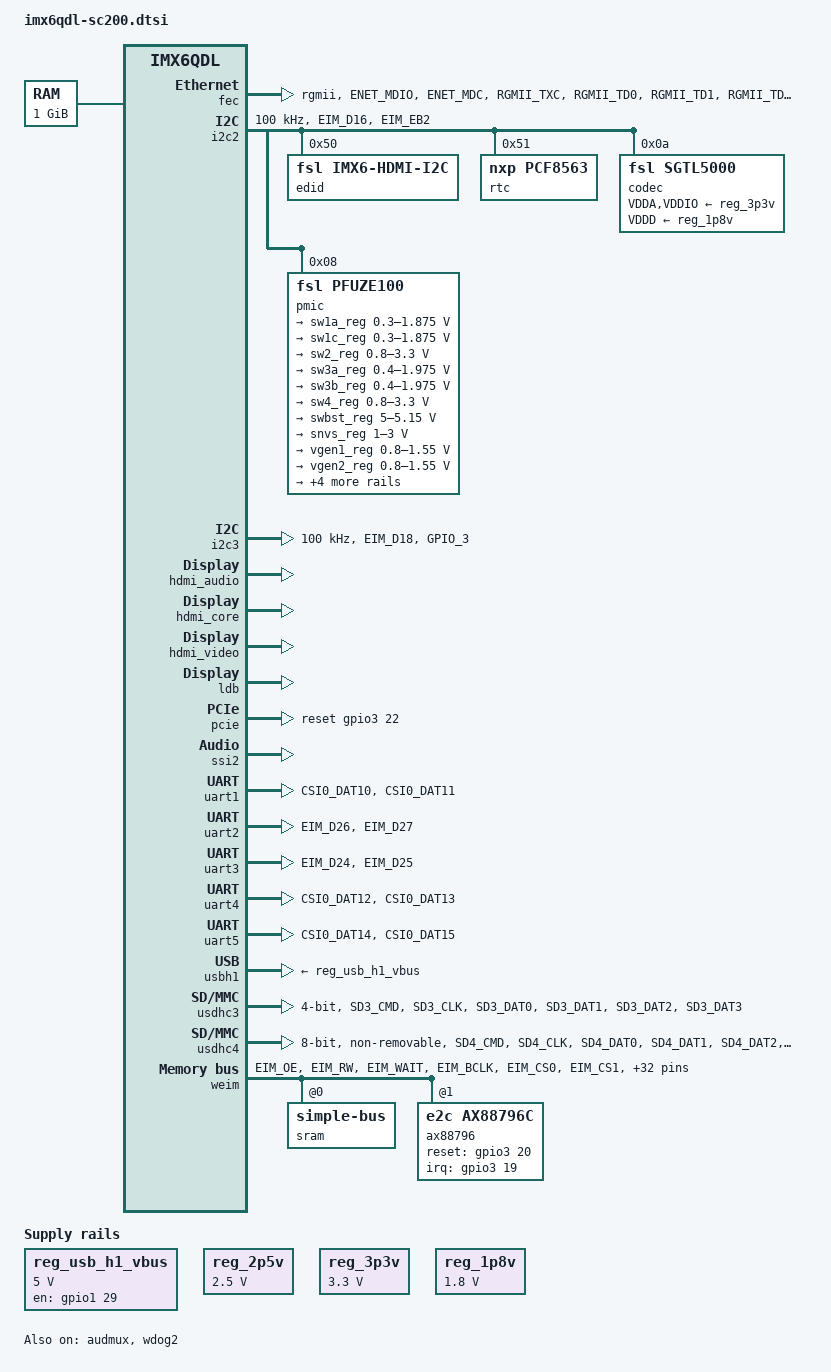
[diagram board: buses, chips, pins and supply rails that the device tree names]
/*
 * Copyright 2012 Freescale Semiconductor, Inc.
 * Copyright 2011 Linaro Ltd.
 *
 * The code contained herein is licensed under the GNU General Public
 * License. You may obtain a copy of the GNU General Public License
 * Version 2 or later at the following locations:
 *
 * http://www.opensource.org/licenses/gpl-license.html
 * http://www.gnu.org/copyleft/gpl.html
 */

#include <dt-bindings/input/input.h>

/ {
	aliases {
		mxcfb0 = &mxcfb1;
		mxcfb1 = &mxcfb2;
		mxcfb2 = &mxcfb3;
		mxcfb3 = &mxcfb4;
	};

	memory {
	
		reg = <0x10000000 0x40000000>;
	};

	    
	regulators {
		compatible = "simple-bus";
		#address-cells = <1>;
		#size-cells = <0>;

		reg_usb_h1_vbus: regulator@1 {
			compatible = "regulator-fixed";
			reg = <1>;
			regulator-name = "usb_h1_vbus";
			regulator-min-microvolt = <5000000>;
			regulator-max-microvolt = <5000000>;
			gpio = <&gpio1 29 0>;
			enable-active-high;
		};
		
		reg_2p5v: regulator@2 {
			compatible = "regulator-fixed";
			reg = <2>;
			regulator-name = "2P5V";
			regulator-min-microvolt = <2500000>;
			regulator-max-microvolt = <2500000>;
			regulator-always-on;
		};

		reg_3p3v: regulator@3 {
			compatible = "regulator-fixed";
			regulator-name = "3P3V";
			reg = <3>;
			regulator-min-microvolt = <3300000>;
			regulator-max-microvolt = <3300000>;
			regulator-always-on;
		};
		
		reg_1p8v: regulator@4 {
			compatible = "regulator-fixed";
			regulator-name = "1P8V";
			reg = <4>;
			regulator-min-microvolt = <1800000>;
			regulator-max-microvolt = <1800000>;
			regulator-always-on;
		};
	};
		
	sound {
		compatible = "fsl,imx-audio-sgtl5000";
		model = "gs400-sgtl5000";
		cpu-dai = <&ssi2>;
		audio-codec = <&codec>;
		audio-routing =
			"Ext Spk", "LINE_OUT",
			"MIC_IN", "Mic Jack",
			"Mic Jack", "Mic Bias",
			"Headphone Jack", "HP_OUT"; 
		mux-int-port = <2>;
		mux-ext-port = <4>;
		status = "disabled";
	};
	
	sound-hdmi {
		compatible = "fsl,imx6q-audio-hdmi",
			     "fsl,imx-audio-hdmi";
		model = "imx-audio-hdmi";
		hdmi-controller = <&hdmi_audio>;
	};

	mxcfb1: fb@0 {
		compatible = "fsl,mxc_sdc_fb";
		disp_dev = "ldb";
		interface_pix_fmt = "RGB666";
		default_bpp = <16>;
		int_clk = <0>;
		late_init = <0>;
		status = "disabled";
	};

	mxcfb2: fb@1 {
		compatible = "fsl,mxc_sdc_fb";
		disp_dev = "hdmi";
		interface_pix_fmt = "RGB24";
		mode_str ="1920x1080M@60";
		default_bpp = <24>;
		int_clk = <0>;
		late_init = <0>;
		status = "disabled";
	};

	mxcfb3: fb@2 {
		compatible = "fsl,mxc_sdc_fb";
		disp_dev = "lcd";
		interface_pix_fmt = "RGB565";
		mode_str ="CLAA-WVGA";
		default_bpp = <16>;
		int_clk = <0>;
		late_init = <0>;
		status = "disabled";
	};

	mxcfb4: fb@3 {
		compatible = "fsl,mxc_sdc_fb";
		disp_dev = "ldb";
		interface_pix_fmt = "RGB666";
		default_bpp = <16>;
		int_clk = <0>;
		late_init = <0>;
		status = "disabled";
	};

	v4l2_out {
		compatible = "fsl,mxc_v4l2_output";
		status = "okay";
	};
};

&audmux {
	pinctrl-names = "default";
	pinctrl-0 = <&pinctrl_audmux>;
	status = "okay";
};

&cpu0 {
	arm-supply = <&sw1a_reg>;
	soc-supply = <&sw1c_reg>;
};

&fec {
	pinctrl-names = "default";
	pinctrl-0 = <&pinctrl_enet>;
	phy-mode = "rgmii";
	phy-reset-gpios = <&gpio1 25 0>;
	fsl,magic-packet;
	status = "okay";
};
	
	
&i2c2 {
	clock-frequency = <100000>;
	pinctrl-names = "default";
	pinctrl-0 = <&pinctrl_i2c2>;
	status = "okay";

	edid@50 {
		compatible = "fsl,imx6-hdmi-i2c";
		reg = <0x50>;
	};
	
	rtc: pcf8563@51 {
		compatible = "nxp,pcf8563";
		reg = <0x51>;
	};
	
	codec: sgtl5000@0a {
		compatible = "fsl,sgtl5000";
		reg = <0x0a>;
		clocks = <&clks 201>;
		VDDA-supply = <&reg_3p3v>;
		VDDIO-supply = <&reg_3p3v>;
		VDDD-supply = <&reg_1p8v>; 
	}; 

	pmic: pfuze100@08 { 
		compatible = "fsl,pfuze100";
		reg = <0x08>;

		regulators {
			sw1a_reg: sw1ab {
				regulator-min-microvolt = <300000>;
				regulator-max-microvolt = <1875000>;
				regulator-boot-on;
				regulator-always-on;
				regulator-ramp-delay = <6250>;
			};

			sw1c_reg: sw1c {
				regulator-min-microvolt = <300000>;
				regulator-max-microvolt = <1875000>;
				regulator-boot-on;
				regulator-always-on;
				regulator-ramp-delay = <6250>;
			};

			sw2_reg: sw2 {
				regulator-min-microvolt = <800000>;
				regulator-max-microvolt = <3300000>;
				regulator-boot-on;
				regulator-always-on;
			};

			sw3a_reg: sw3a {
				regulator-min-microvolt = <400000>;
				regulator-max-microvolt = <1975000>;
				regulator-boot-on;
				regulator-always-on;
			};

			sw3b_reg: sw3b {
				regulator-min-microvolt = <400000>;
				regulator-max-microvolt = <1975000>;
				regulator-boot-on;
				regulator-always-on;
			};

			sw4_reg: sw4 {
				regulator-min-microvolt = <800000>;
				regulator-max-microvolt = <3300000>;
				regulator-always-on;
			};

			swbst_reg: swbst {
				regulator-min-microvolt = <5000000>;
				regulator-max-microvolt = <5150000>;
				regulator-always-on;
			};

			snvs_reg: vsnvs {
				regulator-min-microvolt = <1000000>;
				regulator-max-microvolt = <3000000>;
				regulator-boot-on;
				regulator-always-on;
			};

			vref_reg: vrefddr {
				regulator-boot-on;
				regulator-always-on;
			};

			vgen1_reg: vgen1 {
				regulator-min-microvolt = <800000>;
				regulator-max-microvolt = <1550000>;
				regulator-always-on;
			};

			vgen2_reg: vgen2 {
				regulator-min-microvolt = <800000>;
				regulator-max-microvolt = <1550000>;
				regulator-always-on;
			};

			vgen3_reg: vgen3 {
				regulator-min-microvolt = <1800000>;
				regulator-max-microvolt = <3300000>;
				regulator-always-on;
			};

			vgen4_reg: vgen4 {
				regulator-min-microvolt = <1800000>;
				regulator-max-microvolt = <3300000>;
				regulator-always-on;
			};

			vgen5_reg: vgen5 {
				regulator-min-microvolt = <1800000>;
				regulator-max-microvolt = <3300000>;
				regulator-always-on;
			};

			vgen6_reg: vgen6 {
				regulator-min-microvolt = <1800000>;
				regulator-max-microvolt = <3300000>;
				regulator-always-on;
			};
		};
	};

};
	   
&i2c3 {
	clock-frequency = <100000>;
	pinctrl-names = "default";
	pinctrl-0 = <&pinctrl_i2c3>;
	status = "okay";
}; 
	
&iomuxc {
	pinctrl-names = "default";
	pinctrl-0 = <&pinctrl_hog>;

	imx6qdl-sabresd {
		pinctrl_hog: hoggrp {
			fsl,pins = <
			    MX6QDL_PAD_GPIO_0__CCM_CLKO1    0x130b0
			    MX6QDL_PAD_SD1_CMD__GPIO1_IO18 0x80000000
			    MX6QDL_PAD_SD1_CLK__GPIO1_IO20 0x80000000
			    MX6QDL_PAD_SD1_DAT0__GPIO1_IO16 0x80000000
			    MX6QDL_PAD_SD1_DAT1__GPIO1_IO17 0x80000000
			    MX6QDL_PAD_SD1_DAT2__GPIO1_IO19 0x80000000
			    MX6QDL_PAD_SD1_DAT3__GPIO1_IO21 0x80000000
			    MX6QDL_PAD_SD2_CMD__GPIO1_IO11 0x80000000
			    MX6QDL_PAD_SD2_CLK__GPIO1_IO10 0x80000000
			    MX6QDL_PAD_SD2_DAT3__GPIO1_IO12 0x80000000
			    MX6QDL_PAD_SD2_DAT0__GPIO1_IO15 0x80000000
			    MX6QDL_PAD_KEY_COL2__GPIO4_IO10 0x80000000
			    MX6QDL_PAD_KEY_ROW2__GPIO4_IO11 0x80000000
			    MX6QDL_PAD_KEY_COL3__GPIO4_IO12 0x80000000
			    MX6QDL_PAD_KEY_ROW3__GPIO4_IO13 0x80000000
			    MX6QDL_PAD_KEY_COL4__GPIO4_IO14 0x80000000
			    MX6QDL_PAD_KEY_ROW4__GPIO4_IO15 0x80000000
			    MX6QDL_PAD_GPIO_2__GPIO1_IO02 0x80000000
			    MX6QDL_PAD_GPIO_4__GPIO1_IO04 0x80000000
			    MX6QDL_PAD_GPIO_5__GPIO1_IO05 0x80000000
			    MX6QDL_PAD_GPIO_9__GPIO1_IO09 0x80000000
			    MX6QDL_PAD_GPIO_16__GPIO7_IO11 0x80000000
			    MX6QDL_PAD_GPIO_17__GPIO7_IO12 0x80000000
			    MX6QDL_PAD_GPIO_18__GPIO7_IO13 0x80000000
			    MX6QDL_PAD_GPIO_19__GPIO4_IO05 0x80000000
			    MX6QDL_PAD_NANDF_RB0__GPIO6_IO10 0x80000000	
			    MX6QDL_PAD_EIM_D19__GPIO3_IO19 0x80000000
			    MX6QDL_PAD_EIM_D20__GPIO3_IO20 0x80000000
			>;
		};

		pinctrl_audmux: audmuxgrp {
			fsl,pins = <
				MX6QDL_PAD_DISP0_DAT23__AUD4_RXD		0x130b0
				MX6QDL_PAD_DISP0_DAT20__AUD4_TXC		0x130b0
				MX6QDL_PAD_DISP0_DAT21__AUD4_TXD		0x110b0
				MX6QDL_PAD_DISP0_DAT22__AUD4_TXFS		0x130b0
			>;
		};
	
		pinctrl_ecspi1: ecspi1grp {
			fsl,pins = <
				MX6QDL_PAD_KEY_COL1__ECSPI1_MISO	0x100b1
				MX6QDL_PAD_KEY_ROW0__ECSPI1_MOSI	0x100b1
				MX6QDL_PAD_KEY_COL0__ECSPI1_SCLK	0x100b1
				MX6QDL_PAD_KEY_ROW1__ECSPI1_SS0     0x100b1
			>;
		};	

		pinctrl_enet: enetgrp {
			fsl,pins = <
				MX6QDL_PAD_ENET_MDIO__ENET_MDIO		0x1b0b0
				MX6QDL_PAD_ENET_MDC__ENET_MDC		0x1b0b0
				MX6QDL_PAD_RGMII_TXC__RGMII_TXC		0x1b0b0
				MX6QDL_PAD_RGMII_TD0__RGMII_TD0		0x1b0b0
				MX6QDL_PAD_RGMII_TD1__RGMII_TD1		0x1b0b0
				MX6QDL_PAD_RGMII_TD2__RGMII_TD2		0x1b0b0
				MX6QDL_PAD_RGMII_TD3__RGMII_TD3		0x1b0b0
				MX6QDL_PAD_RGMII_TX_CTL__RGMII_TX_CTL	0x1b0b0
				MX6QDL_PAD_ENET_REF_CLK__ENET_TX_CLK	0x1b0b0
				MX6QDL_PAD_RGMII_RXC__RGMII_RXC		0x1b0b0
				MX6QDL_PAD_RGMII_RD0__RGMII_RD0		0x1b0b0
				MX6QDL_PAD_RGMII_RD1__RGMII_RD1		0x1b0b0
				MX6QDL_PAD_RGMII_RD2__RGMII_RD2		0x1b0b0
				MX6QDL_PAD_RGMII_RD3__RGMII_RD3		0x1b0b0
				MX6QDL_PAD_RGMII_RX_CTL__RGMII_RX_CTL	0x1b0b0
			>;
		};

		pinctrl_enet_irq: enetirqgrp {
			fsl,pins = <
				MX6QDL_PAD_GPIO_6__ENET_IRQ		0x000b1
			>;
		};

		pinctrl_i2c2: i2c2grp {
			fsl,pins = <
				MX6QDL_PAD_EIM_D16__I2C2_SDA		0x4001b8b1
				MX6QDL_PAD_EIM_EB2__I2C2_SCL		0x4001b8b1
			 >;
		};

		pinctrl_i2c3: i2c3grp {
			fsl,pins = <
				MX6QDL_PAD_EIM_D18__I2C3_SDA		0x4001b8b1
				MX6QDL_PAD_GPIO_3__I2C3_SCL		0x4001b8b1
			 >;
		};
		
		pinctrl_uart1: uart1grp {
			fsl,pins = <
				MX6QDL_PAD_CSI0_DAT10__UART1_TX_DATA	0x1b0b1
				MX6QDL_PAD_CSI0_DAT11__UART1_RX_DATA	0x1b0b1
			>;
		};

		pinctrl_uart2: uart2grp {
			fsl,pins = <
				MX6QDL_PAD_EIM_D26__UART2_TX_DATA	0x1b0b1
				MX6QDL_PAD_EIM_D27__UART2_RX_DATA 	0x1b0b1
			>;
		};
		
		pinctrl_uart3: uart3grp {
			fsl,pins = <
				MX6QDL_PAD_EIM_D24__UART3_TX_DATA	0x1b0b1
				MX6QDL_PAD_EIM_D25__UART3_RX_DATA	0x1b0b1
				/* MX6QDL_PAD_EIM_D31__UART3_RTS_B	0x1b0b1
				MX6QDL_PAD_EIM_D23__UART3_CTS_B	0x1b0b1 */
			>;
		};

		pinctrl_uart4: uart4grp {
			fsl,pins = <
				MX6QDL_PAD_CSI0_DAT12__UART4_TX_DATA	0x1b0b1
				MX6QDL_PAD_CSI0_DAT13__UART4_RX_DATA	0x1b0b1
			>;
		};
		
		pinctrl_uart5: uart5grp {
			fsl,pins = <
				MX6QDL_PAD_CSI0_DAT14__UART5_TX_DATA	0x1b0b1
				MX6QDL_PAD_CSI0_DAT15__UART5_RX_DATA	0x1b0b1
			>;
		};
		
		pinctrl_usbotg: usbotggrp {
			fsl,pins = <
				MX6QDL_PAD_ENET_RX_ER__USB_OTG_ID	0x17059
			>;
		};

		pinctrl_usdhc3: usdhc3grp {
			fsl,pins = <
				MX6QDL_PAD_SD3_CMD__SD3_CMD		0x17059
				MX6QDL_PAD_SD3_CLK__SD3_CLK		0x10059
				MX6QDL_PAD_SD3_DAT0__SD3_DATA0		0x17059
				MX6QDL_PAD_SD3_DAT1__SD3_DATA1		0x17059
				MX6QDL_PAD_SD3_DAT2__SD3_DATA2		0x17059
				MX6QDL_PAD_SD3_DAT3__SD3_DATA3		0x17059
			>;
		};

		pinctrl_usdhc4: usdhc4grp {
			fsl,pins = <
				MX6QDL_PAD_SD4_CMD__SD4_CMD		0x17059
				MX6QDL_PAD_SD4_CLK__SD4_CLK		0x10059
				MX6QDL_PAD_SD4_DAT0__SD4_DATA0		0x17059
				MX6QDL_PAD_SD4_DAT1__SD4_DATA1		0x17059
				MX6QDL_PAD_SD4_DAT2__SD4_DATA2		0x17059
				MX6QDL_PAD_SD4_DAT3__SD4_DATA3		0x17059
				MX6QDL_PAD_SD4_DAT4__SD4_DATA4		0x17059
				MX6QDL_PAD_SD4_DAT5__SD4_DATA5		0x17059
				MX6QDL_PAD_SD4_DAT6__SD4_DATA6		0x17059
				MX6QDL_PAD_SD4_DAT7__SD4_DATA7		0x17059
			>;
		};
		
		pinctrl_weim: weimgrp {
			fsl,pins = <
				MX6QDL_PAD_EIM_OE__EIM_OE_B		0xb0b1
				MX6QDL_PAD_EIM_RW__EIM_RW		0xb0b1
				MX6QDL_PAD_EIM_WAIT__EIM_WAIT_B 0xb0b1
				MX6QDL_PAD_EIM_BCLK__EIM_BCLK   0xb0b1
				MX6QDL_PAD_EIM_CS0__EIM_CS0_B		0xb0b1
				MX6QDL_PAD_EIM_CS1__EIM_CS1_B       0xb0b1
				MX6QDL_PAD_CSI0_DATA_EN__EIM_DATA00 0x1b0b0
				MX6QDL_PAD_CSI0_VSYNC__EIM_DATA01   0x1b0b0
				MX6QDL_PAD_CSI0_DAT4__EIM_DATA02    0x1b0b0
				MX6QDL_PAD_CSI0_DAT5__EIM_DATA03    0x1b0b0
				MX6QDL_PAD_CSI0_DAT6__EIM_DATA04    0x1b0b0
				MX6QDL_PAD_CSI0_DAT7__EIM_DATA05    0x1b0b0
				MX6QDL_PAD_CSI0_DAT8__EIM_DATA06    0x1b0b0
				MX6QDL_PAD_CSI0_DAT9__EIM_DATA07    0x1b0b0
				MX6QDL_PAD_EIM_A23__EIM_ADDR23		0xb0b1
				MX6QDL_PAD_EIM_A22__EIM_ADDR22		0xb0b1
				MX6QDL_PAD_EIM_A21__EIM_ADDR21		0xb0b1
				MX6QDL_PAD_EIM_A20__EIM_ADDR20		0xb0b1
				MX6QDL_PAD_EIM_A19__EIM_ADDR19		0xb0b1
				MX6QDL_PAD_EIM_A18__EIM_ADDR18		0xb0b1
				MX6QDL_PAD_EIM_A17__EIM_ADDR17		0xb0b1
				MX6QDL_PAD_EIM_A16__EIM_ADDR16		0xb0b1
				MX6QDL_PAD_EIM_DA15__EIM_AD15		0xb0b1
				MX6QDL_PAD_EIM_DA14__EIM_AD14		0xb0b1
				MX6QDL_PAD_EIM_DA13__EIM_AD13		0xb0b1
				MX6QDL_PAD_EIM_DA12__EIM_AD12		0xb0b1
				MX6QDL_PAD_EIM_DA11__EIM_AD11		0xb0b1
				MX6QDL_PAD_EIM_DA10__EIM_AD10		0xb0b1
				MX6QDL_PAD_EIM_DA9__EIM_AD09		0xb0b1
				MX6QDL_PAD_EIM_DA8__EIM_AD08		0xb0b1
				MX6QDL_PAD_EIM_DA7__EIM_AD07		0xb0b1
				MX6QDL_PAD_EIM_DA6__EIM_AD06		0xb0b1
				MX6QDL_PAD_EIM_DA5__EIM_AD05		0xb0b1
				MX6QDL_PAD_EIM_DA4__EIM_AD04		0xb0b1
				MX6QDL_PAD_EIM_DA3__EIM_AD03		0xb0b1
				MX6QDL_PAD_EIM_DA2__EIM_AD02		0xb0b1
				MX6QDL_PAD_EIM_DA1__EIM_AD01		0xb0b1
				MX6QDL_PAD_EIM_DA0__EIM_AD00		0xb0b1
			>;
		};


	};
};

&gpc {
	/* use ldo-bypass, u-boot will check it and configure */
	fsl,ldo-bypass = <1>;
	fsl,wdog-reset = <2>;
};

&hdmi_audio {
	status = "okay";
};

&hdmi_core {
	ipu_id = <0>;
	disp_id = <1>;
	status = "okay";
};

&hdmi_video {
	fsl,phy_reg_vlev = <0x0294>;
	fsl,phy_reg_cksymtx = <0x800d>;
	status = "okay";
};

&ldb {
	status = "okay";

	lvds-channel@0 {
		fsl,data-mapping = "spwg";
		fsl,data-width = <24>;
		primary;
		status = "okay";

		display-timings {
			native-mode = <&timing0>;
			timing0: hsd100pxn1 {
				clock-frequency = <76000000>;
				hactive = <1368>;
				vactive = <768>;
				hback-porch = <98>;
				hfront-porch = <32>;
				vback-porch = <20>;
				vfront-porch = <6>;
				hsync-len = <64>;
				vsync-len = <12>;
				hsync-active = <0>;
				vsync-active = <0>;
				de-active = <1>;
			};
/*
		display-timings {
			native-mode = <&timing0>;
			timing0: hsd100pxn1 {
				clock-frequency = <65000000>;
				hactive = <1024>;
				vactive = <768>;
				hback-porch = <160>;
				hfront-porch = <24>;
				vback-porch = <32>;
				vfront-porch = <3>;
				hsync-len = <136>;
				vsync-len = <3>;
				hsync-active = <0>;
				vsync-active = <0>;
				de-active = <1>;
			};
*/
		};
	};

	lvds-channel@1 {
		fsl,data-mapping = "spwg";
		fsl,data-width = <18>;	
		status = "okay";

		display-timings {
			native-mode = <&timing1>;
			timing1: hsd100pxn1 {
				clock-frequency = <65000000>;
				hactive = <1024>;
				vactive = <768>;
				hback-porch = <220>;
				hfront-porch = <40>;
				vback-porch = <21>;
				vfront-porch = <7>;
				hsync-len = <60>;
				vsync-len = <10>;
			};
		};
	};
};

&pcie {
	reset-gpio = <&gpio3 22 0>;
	status = "okay";
};


&ssi2 {
	fsl,mode = "i2s-slave";
	status = "okay";
};

&uart1 {
	pinctrl-names = "default";
	pinctrl-0 = <&pinctrl_uart1>;
	status = "okay";
};

&uart2 {
	pinctrl-names = "default";
	pinctrl-0 = <&pinctrl_uart2>;
	status = "okay";
};

&uart3 {
	pinctrl-names = "default";
	pinctrl-0 = <&pinctrl_uart3>;
	status = "okay";
};

&uart4 {
	pinctrl-names = "default";
	pinctrl-0 = <&pinctrl_uart4>;
	status = "okay";
};

&uart5 {
	pinctrl-names = "default";
	pinctrl-0 = <&pinctrl_uart5>;
	e2c,mdb-mode;
	status = "okay";
};

&usbh1 {
	vbus-supply = <&reg_usb_h1_vbus>;
	status = "okay";
};


&usdhc3 {
	pinctrl-names = "default";
	pinctrl-0 = <&pinctrl_usdhc3>;
	bus-width = <4>;
/*	cd-gpios = <&gpio4 5 1>;
	cd-inverted; */
	broken-cd;
	no-1-8-v;
	keep-power-in-suspend;
	enable-sdio-wakeup;
	status = "okay";
};

&usdhc4 {
	pinctrl-names = "default";
	pinctrl-0 = <&pinctrl_usdhc4>;
	bus-width = <8>;
	non-removable;
	no-1-8-v;
	keep-power-in-suspend;
	status = "okay";
};

&weim {
    pinctrl-names = "default";
	pinctrl-0 = <&pinctrl_weim>;
	#address-cells = <2>;
	#size-cells = <1>;
	ranges = <0 0 0x08000000 0x02000000>,
		     <1 0 0x0a000000 0x02000000>,
		     <2 0 0x0c000000 0x02000000>,
		     <3 0 0x0e000000 0x02000000>;
    fsl,weim-cs-gpr = <&gpr>;
    status = "okay";
		
		sram@0,0 {
        	compatible = "simple-bus";
			reg = <0 0 0x02000000>;
			fsl,weim-cs-timing = <0x01940001 0x00001200 0x06000000
					0x0000c000 0x1404a38e 0x00000000>;
		};			
		ax88796@1,0 {
			compatible = "e2c,ax88796c";
			reg = <1 0 0x02000000>;
			fsl,weim-cs-timing = <0x01940001 0x00001200 0x06000000
					0x0000c000 0x1404a38e 0x00000000>;	
			interrupt-parent = <&gpio3>;
		    interrupts = <19 IRQ_TYPE_LEVEL_LOW>;
		    reset-gpios = <&gpio3 20 0>;		
		};
	};	
	    
&gpio2 {
    eb-gpios = <&gpio2 28 0>,
               <&gpio2 29 0>;
};

&wdog1 {
	status = "disabled";
};

&wdog2 {
	status = "okay";
};
